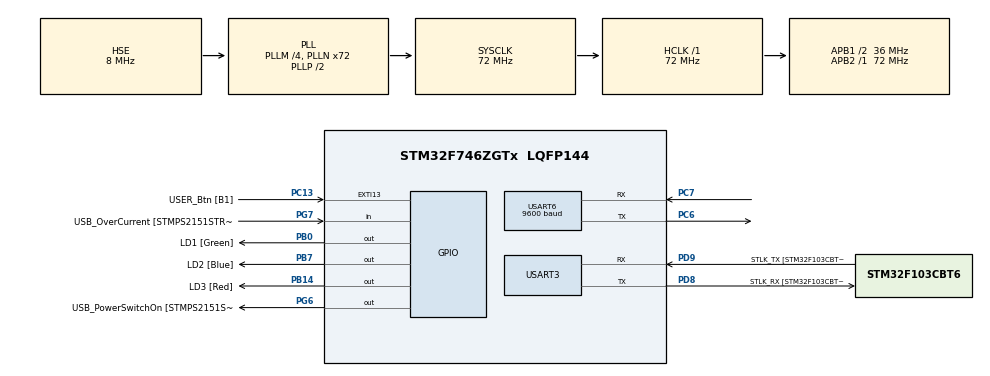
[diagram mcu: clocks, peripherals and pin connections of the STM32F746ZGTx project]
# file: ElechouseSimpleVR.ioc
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Mcu.Family=STM32F7
Mcu.Name=STM32F746ZGTx
Mcu.Package=LQFP144
NVIC.PriorityGroup=NVIC_PRIORITYGROUP_4
NVIC.USART3_IRQn=true\:0\:0\:false\:false\:true\:true
NVIC.USART6_IRQn=true\:0\:0\:false\:false\:true\:true
PA1.GPIO_Label=RMII_REF_CLK [LAN8742A-CZ-TR_REFCLK0]
PA1.Signal=ETH_REF_CLK
PA10.GPIO_Label=USB_ID
PA10.Signal=USB_OTG_FS_ID
PA11.GPIO_Label=USB_DM
PA11.Signal=USB_OTG_FS_DM
PA12.GPIO_Label=USB_DP
PA12.Signal=USB_OTG_FS_DP
PA13.GPIO_Label=TMS
PA13.Mode=Serial_Wire
PA13.Signal=SYS_JTMS-SWDIO
PA14.GPIO_Label=TCK
PA14.Mode=Serial_Wire
PA14.Signal=SYS_JTCK-SWCLK
PA2.GPIO_Label=RMII_MDIO [LAN8742A-CZ-TR_MDIO]
PA2.Signal=ETH_MDIO
PA7.GPIO_Label=RMII_CRS_DV [LAN8742A-CZ-TR_CRS_DV]
PA7.Signal=ETH_CRS_DV
PA8.GPIO_Label=USB_SOF [TP1]
PA8.Signal=USB_OTG_FS_SOF
PA9.GPIO_Label=USB_VBUS
PA9.Signal=USB_OTG_FS_VBUS
PB0.GPIO_Label=LD1 [Green]
PB0.Signal=GPIO_Output
PB13.GPIO_Label=RMII_TXD1 [LAN8742A-CZ-TR_TXD1]
PB13.Signal=ETH_TXD1
PB14.GPIO_Label=LD3 [Red]
PB14.Signal=GPIO_Output
PB3.GPIO_Label=SW0
PB3.Signal=SYS_JTDO-SWO
PB7.GPIO_Label=LD2 [Blue]
PB7.Signal=GPIO_Output
PC1.GPIO_Label=RMII_MDC [LAN8742A-CZ-TR_MDC]
PC1.Signal=ETH_MDC
PC13.GPIO_Label=USER_Btn [B1]
PC13.Signal=GPXTI13
PC14/OSC32_IN.Signal=RCC_OSC32_IN
PC15/OSC32_OUT.Signal=RCC_OSC32_OUT
PC4.GPIO_Label=RMII_RXD0 [LAN8742A-CZ-TR_RXD0]
PC4.Signal=ETH_RXD0
PC5.GPIO_Label=RMII_RXD1 [LAN8742A-CZ-TR_RXD1]
PC5.Signal=ETH_RXD1
PC6.Mode=Asynchronous
PC6.Signal=USART6_TX
PC7.Mode=Asynchronous
PC7.Signal=USART6_RX
PD8.GPIO_Label=STLK_RX [STM32F103CBT6_PA3]
PD8.Mode=Asynchronous
PD8.Signal=USART3_TX
PD9.GPIO_Label=STLK_TX [STM32F103CBT6_PA2]
PD9.Mode=Asynchronous
PD9.Signal=USART3_RX
PG11.GPIO_Label=RMII_TX_EN [LAN8742A-CZ-TR_TXEN]
PG11.Signal=ETH_TX_EN
PG13.GPIO_Label=RMII_TXD0 [LAN8742A-CZ-TR_TXD0]
PG13.Signal=ETH_TXD0
PG6.GPIO_Label=USB_PowerSwitchOn [STMPS2151STR_EN]
PG6.Signal=GPIO_Output
PG7.GPIO_Label=USB_OverCurrent [STMPS2151STR_FAULT]
PG7.Signal=GPIO_Input
PH0/OSC_IN.GPIO_Label=MCO [STM32F103CBT6_PA8]
PH0/OSC_IN.Mode=HSE-External-Clock-Source
PH0/OSC_IN.Signal=RCC_OSC_IN
PH1/OSC_OUT.Mode=HSE-External-Clock-Source
PH1/OSC_OUT.Signal=RCC_OSC_OUT
ProjectManager.HeapSize=0x400
ProjectManager.StackSize=0x900
ProjectManager.TargetToolchain=SW4STM32
RCC.48MHZClocksFreq_Value=24000000
RCC.AHBFreq_Value=72000000
RCC.APB1CLKDivider=RCC_HCLK_DIV2
RCC.APB1Freq_Value=36000000
RCC.APB1TimFreq_Value=72000000
RCC.APB2Freq_Value=72000000
RCC.APB2TimFreq_Value=72000000
RCC.CortexFreq_Value=72000000
RCC.HCLKFreq_Value=72000000
RCC.HSE_VALUE=8000000
RCC.HSI_VALUE=16000000
RCC.LSE_VALUE=32.768
RCC.PLLM=4
RCC.PLLMUL=RCC_PLL_MUL9
RCC.PLLN=72
RCC.PLLQ=3
RCC.PLLSourceVirtual=RCC_PLLSOURCE_HSE
RCC.PRESCALERUSB=RCC_USBCLKSOURCE_PLL_DIV1_5
RCC.SYSCLKFreq_VALUE=72000000
RCC.SYSCLKSource=RCC_SYSCLKSOURCE_PLLCLK
RCC.SYSCLKSourceVirtual=RCC_SYSCLKSOURCE_PLLCLK
RCC.USBFreq_Value=48000000
RCC.VCOOutputFreq_Value=144000000
USART3.VirtualMode-Asynchronous=VM_ASYNC
USART3.WordLength=WORDLENGTH_8B
USART6.BaudRate=9600
USART6.VirtualMode-Asynchronous=VM_ASYNC
USART6.WordLength=WORDLENGTH_8B
board=NUCLEO-F746ZG

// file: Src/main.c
/**
  ******************************************************************************
  * @file           : main.c
  * @brief          : Main program body
  ******************************************************************************
  ** This notice applies to any and all portions of this file
  * that are not between comment pairs USER CODE BEGIN and
  * USER CODE END. Other portions of this file, whether
  * inserted by the user or by software development tools
  * are owned by their respective copyright owners.
  *
  * COPYRIGHT(c) 2018 STMicroelectronics
  *
  * Redistribution and use in source and binary forms, with or without modification,
  * are permitted provided that the following conditions are met:
  *   1. Redistributions of source code must retain the above copyright notice,
  *      this list of conditions and the following disclaimer.
  *   2. Redistributions in binary form must reproduce the above copyright notice,
  *      this list of conditions and the following disclaimer in the documentation
  *      and/or other materials provided with the distribution.
  *   3. Neither the name of STMicroelectronics nor the names of its contributors
  *      may be used to endorse or promote products derived from this software
  *      without specific prior written permission.
  *
  * THIS SOFTWARE IS PROVIDED BY THE COPYRIGHT HOLDERS AND CONTRIBUTORS "AS IS"
  * AND ANY EXPRESS OR IMPLIED WARRANTIES, INCLUDING, BUT NOT LIMITED TO, THE
  * IMPLIED WARRANTIES OF MERCHANTABILITY AND FITNESS FOR A PARTICULAR PURPOSE ARE
  * DISCLAIMED. IN NO EVENT SHALL THE COPYRIGHT HOLDER OR CONTRIBUTORS BE LIABLE
  * FOR ANY DIRECT, INDIRECT, INCIDENTAL, SPECIAL, EXEMPLARY, OR CONSEQUENTIAL
  * DAMAGES (INCLUDING, BUT NOT LIMITED TO, PROCUREMENT OF SUBSTITUTE GOODS OR
  * SERVICES; LOSS OF USE, DATA, OR PROFITS; OR BUSINESS INTERRUPTION) HOWEVER
  * CAUSED AND ON ANY THEORY OF LIABILITY, WHETHER IN CONTRACT, STRICT LIABILITY,
  * OR TORT (INCLUDING NEGLIGENCE OR OTHERWISE) ARISING IN ANY WAY OUT OF THE USE
  * OF THIS SOFTWARE, EVEN IF ADVISED OF THE POSSIBILITY OF SUCH DAMAGE.
  *
  ******************************************************************************
  */
#include "main.h"
#include "stm32f7xx_hal.h"
#include "usart.h"
#include "gpio.h"

/* USER CODE BEGIN Includes */

#include "elechouse_simpleVR.h"

/* USER CODE END Includes */

/* USER CODE BEGIN PV */
/* Private variables ---------------------------------------------------------*/

/* USER CODE END PV */

void SystemClock_Config(void);

/* USER CODE BEGIN PFP */
/* Private function prototypes -----------------------------------------------*/

/* USER CODE END PFP */

int main(void)
{

  /* MCU Configuration----------------------------------------------------------*/

  /* Reset of all peripherals, Initializes the Flash interface and the Systick. */
  HAL_Init();

  /* Configure the system clock */
  SystemClock_Config();

  /* Initialize all configured peripherals */
  MX_GPIO_Init();
  MX_USART3_UART_Init();
  MX_USART6_UART_Init();
  /* USER CODE BEGIN 2 */

  UART_Error_Registers_init();
  UART_Ring_Buffer_init();

  traza("\n\r\n\r\n\r Inicio");

  /*traza("\n\r elechouse_restore_system_settings: \t\t");
  if (elechouse_restore_system_settings())	traza("FAIL");
  else										traza("OK");*/

  traza("\n\r elechouse_enable_recognition: \t\t\t");
  if (elechouse_enable_recognition())	traza("FAIL");
  else									traza("OK");

  /*traza("\n\r elechouse_disable_recognition: \t\t");
  if (elechouse_disable_recognition())	traza("FAIL");
  else									traza("OK");*/

  uint8_t group = 1;
  traza("\n\r elechouse_group_select: \t\t\t");
  if (elechouse_group_select(group))	traza("FAIL");
  else									traza("OK");

  /*traza("\n\r elechouse_enable_or_disable_startup_info: \t");
  if (elechouse_enable_or_disable_startup_info(ELECHOUSE__ENABLE_DISABLE_STARTUP_INFO__DISABLE))	traza("FAIL");
  else																								traza("OK");*/

  uint8_t recognition_state, current_group, threshold;
  traza("\n\r elechouse_check_system_state: \t\t\t");
  if (elechouse_check_system_state (&recognition_state, &current_group, &threshold))	traza("FAIL");
  else
  {
	  traza("OK");
	  if (recognition_state == ELECHOUSE__RECOGNITION_STATE__ENABLE)	traza("\n\r\t recognition_state: enable");
	  else																traza("\n\r\t recognition_state: disable");
	  traza(", group = %i, threshold = 0x%X", current_group, threshold);
  }

  /*traza("\n\r elechouse_set_threshold_value: \t\t");
  if (elechouse_set_threshold_value(threshold))	traza("FAIL");
  else									traza("OK");*/

  uint16_t SW_version, HW_version;
  uint8_t SW_patch;
  traza("\n\r elechouse_check_version: \t\t\t");
  if (elechouse_check_version (&SW_version, &SW_patch, &HW_version))	traza("FAIL");
  else
  {
	  traza("OK");
	  traza("\n\r\t SW_version = 0x%X, SW_patch = 0x%X, HW_version = 0x%X", SW_version, SW_patch, HW_version);
  }

  uint16_t index;
  uint8_t score_of_recognition;

  /* USER CODE END 2 */

  /* Infinite loop */
  while (1)
  {

  /* USER CODE BEGIN 3 */
	  if (!elechouse_voice_recognized (&index, &current_group, &score_of_recognition))
	  {
		  traza("\n\r\t index = 0x%X, current_group = 0x%X, score_of_recognition = 0x%X", index, current_group, score_of_recognition);
	  }

	  HAL_Delay(100);

  }
  /* USER CODE END 3 */

}

void SystemClock_Config(void)
{

  RCC_OscInitTypeDef RCC_OscInitStruct;
  RCC_ClkInitTypeDef RCC_ClkInitStruct;
  RCC_PeriphCLKInitTypeDef PeriphClkInitStruct;

    /**Configure the main internal regulator output voltage
    */
  __HAL_RCC_PWR_CLK_ENABLE();

  __HAL_PWR_VOLTAGESCALING_CONFIG(PWR_REGULATOR_VOLTAGE_SCALE3);

    /**Initializes the CPU, AHB and APB busses clocks
    */
  RCC_OscInitStruct.OscillatorType = RCC_OSCILLATORTYPE_HSE;
  RCC_OscInitStruct.HSEState = RCC_HSE_BYPASS;
  RCC_OscInitStruct.PLL.PLLState = RCC_PLL_ON;
  RCC_OscInitStruct.PLL.PLLSource = RCC_PLLSOURCE_HSE;
  RCC_OscInitStruct.PLL.PLLM = 4;
  RCC_OscInitStruct.PLL.PLLN = 72;
  RCC_OscInitStruct.PLL.PLLP = RCC_PLLP_DIV2;
  RCC_OscInitStruct.PLL.PLLQ = 3;
  if (HAL_RCC_OscConfig(&RCC_OscInitStruct) != HAL_OK)
  {
    _Error_Handler(__FILE__, __LINE__);
  }

    /**Initializes the CPU, AHB and APB busses clocks
    */
  RCC_ClkInitStruct.ClockType = RCC_CLOCKTYPE_HCLK|RCC_CLOCKTYPE_SYSCLK
                              |RCC_CLOCKTYPE_PCLK1|RCC_CLOCKTYPE_PCLK2;
  RCC_ClkInitStruct.SYSCLKSource = RCC_SYSCLKSOURCE_PLLCLK;
  RCC_ClkInitStruct.AHBCLKDivider = RCC_SYSCLK_DIV1;
  RCC_ClkInitStruct.APB1CLKDivider = RCC_HCLK_DIV2;
  RCC_ClkInitStruct.APB2CLKDivider = RCC_HCLK_DIV1;

  if (HAL_RCC_ClockConfig(&RCC_ClkInitStruct, FLASH_LATENCY_2) != HAL_OK)
  {
    _Error_Handler(__FILE__, __LINE__);
  }

  PeriphClkInitStruct.PeriphClockSelection = RCC_PERIPHCLK_USART3|RCC_PERIPHCLK_USART6;
  PeriphClkInitStruct.Usart3ClockSelection = RCC_USART3CLKSOURCE_PCLK1;
  PeriphClkInitStruct.Usart6ClockSelection = RCC_USART6CLKSOURCE_PCLK2;
  if (HAL_RCCEx_PeriphCLKConfig(&PeriphClkInitStruct) != HAL_OK)
  {
    _Error_Handler(__FILE__, __LINE__);
  }

    /**Configure the Systick interrupt time
    */
  HAL_SYSTICK_Config(HAL_RCC_GetHCLKFreq()/1000);

    /**Configure the Systick
    */
  HAL_SYSTICK_CLKSourceConfig(SYSTICK_CLKSOURCE_HCLK);

  /* SysTick_IRQn interrupt configuration */
  HAL_NVIC_SetPriority(SysTick_IRQn, 0, 0);
}

void _Error_Handler(char *file, int line)
{
  while(1)
  {
  }
}

/************************ (C) COPYRIGHT STMicroelectronics *****END OF FILE****/
